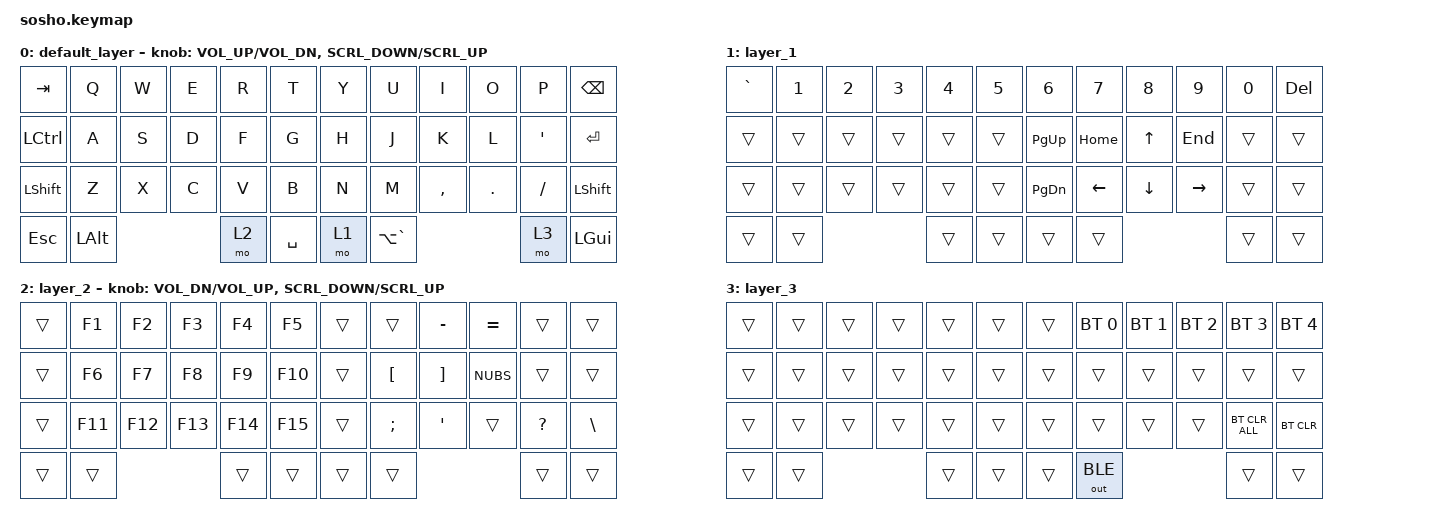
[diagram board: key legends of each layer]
//スクロール量の調整(デフォルト150)
#define ZMK_POINTING_DEFAULT_SCRL_VAL 150

#include <behaviors.dtsi>
#include <dt-bindings/zmk/bt.h>
#include <dt-bindings/zmk/keys.h>
#include <dt-bindings/zmk/pointing.h>
#include <dt-bindings/zmk/outputs.h>

/ {
	behaviors {
        ec_ms_l: ec_ms_h {
            compatible = "zmk,behavior-encoder-mouse-scroll";
            #sensor-binding-cells = <2>;
        };
        ec_ms_r: ec_ms_v {
            compatible = "zmk,behavior-encoder-mouse-scroll";
            #sensor-binding-cells = <2>;
        };
    };
};

//スクロールの調整
&msc {
    time-to-max-speed-ms = <0>;   // 即座に最大速度（加速なし）
    acceleration-exponent = <0>;   // 加速なし
};

/{
    combos {
        compatible = "zmk,combos";
		//左クリックのコンボ 19はJのキー 20はKのキーに相当します。
	    combo_LCLK {
            timeout-ms = <50>;
            key-positions = <19 20>;
            bindings = <&mkp LCLK>;
        };

		//右クリックのコンボ 20 K 21 L
        combo_RCLK {
            timeout-ms = <50>;
            key-positions = <20 21>;
            bindings = <&mkp RCLK>;
        };

		//ホイールクリックのコンボ 19 J 21 L
	    combo_MCLK {
            timeout-ms = <90>;
            key-positions = <19 21>;
            bindings = <&mkp MCLK>;
        };

                //ここから追加：左手側コンボ
        //S+D = 右クリック
        combo_LEFT_RCLK {
            timeout-ms = <50>;
            key-positions = <14 15>;
            bindings = <&mkp RCLK>;
        };

        //S+F = ミドルクリック
        combo_LEFT_MCLK {
            timeout-ms = <90>;
            key-positions = <14 16>;
            bindings = <&mkp MCLK>;
        };

        //D+F = 左クリック
        combo_LEFT_LCLK {
            timeout-ms = <50>;
            key-positions = <15 16>;
            bindings = <&mkp LCLK>;
        };
    };
};

/{
keymap {
    compatible = "zmk,keymap";

    default_layer {
        bindings = <
            &kp TAB    &kp Q   &kp W  &kp E  &kp R  &kp T      &kp Y  &kp U  &kp I      &kp O    &kp P     &kp BSPC
            &kp LCTRL  &kp A   &kp S  &kp D  &kp F  &kp G      &kp H  &kp J  &kp K      &kp L    &kp SQT   &kp ENTER
            &kp LSHFT  &kp Z   &kp X  &kp C  &kp V  &kp B      &kp N  &kp M  &kp COMMA  &kp DOT  &kp SLASH &kp LSHFT
            &kp ESC    &kp LALT              &mo 2  &kp SPACE  &mo 1  &kp LA(GRAVE)              &mo 3     &kp LGUI
        >;
		//&ec_ms_lとrは、上のビヘイビアで作ったもの。
        sensor-bindings = <&inc_dec_kp C_VOL_UP C_VOL_DN &ec_ms_r SCRL_DOWN SCRL_UP>;
    };
	
    layer_1 {
        bindings = <
            &kp GRAVE &kp N1  &kp N2  &kp N3  &kp N4  &kp N5       &kp N6    &kp N7   &kp N8   &kp N9    &kp N0 &kp DEL
            &trans    &trans &trans &trans &trans &trans           &kp PG_UP &kp HOME &kp UP   &kp END   &trans &trans
            &trans    &trans &trans &trans &trans &trans           &kp PG_DN &kp LEFT &kp DOWN &kp RIGHT &trans &trans
            &trans    &trans               &trans &trans           &trans    &trans                      &trans &trans
        >;
    };

    layer_2 {
        bindings = <
            &trans &kp F1  &kp F2  &kp F3  &kp F4  &kp F5     &trans  &trans    &kp MINUS &kp EQUAL &trans     &trans
            &trans &kp F6  &kp F7  &kp F8  &kp F9  &kp F10    &trans  &kp LBKT  &kp RBKT  &kp NUBS  &trans     &trans
            &trans &kp F11 &kp F12 &kp F13 &kp F14 &kp F15    &trans  &kp SEMI  &kp SQT   &trans    &kp QMARK  &kp BSLH
            &trans &trans                  &trans  &trans     &trans  &trans                        &trans     &trans
        >;
		//レイヤー2のときだけ、左手のエンコーダを回すとボリュームの上下ができるようになっています。
		sensor-bindings = <&inc_dec_kp C_VOL_DN C_VOL_UP &ec_ms_r SCRL_DOWN SCRL_UP>;

    };

    layer_3 {
        bindings = <
            &trans &trans &trans &trans &trans &trans      &trans  &bt BT_SEL 0  &bt BT_SEL 1  &bt BT_SEL 2  &bt BT_SEL 3   &bt BT_SEL 4
            &trans &trans &trans &trans &trans &trans      &trans  &trans        &trans        &trans        &trans         &trans
            &trans &trans &trans &trans &trans &trans      &trans  &trans        &trans        &trans        &bt BT_CLR_ALL &bt BT_CLR
            &trans &trans               &trans &trans      &trans  &out OUT_BLE                                    &trans         &trans
        >;
    };
    scroll {
        status = "reserved";
    };

    extra2 {
        status = "reserved";
    };
};
};
